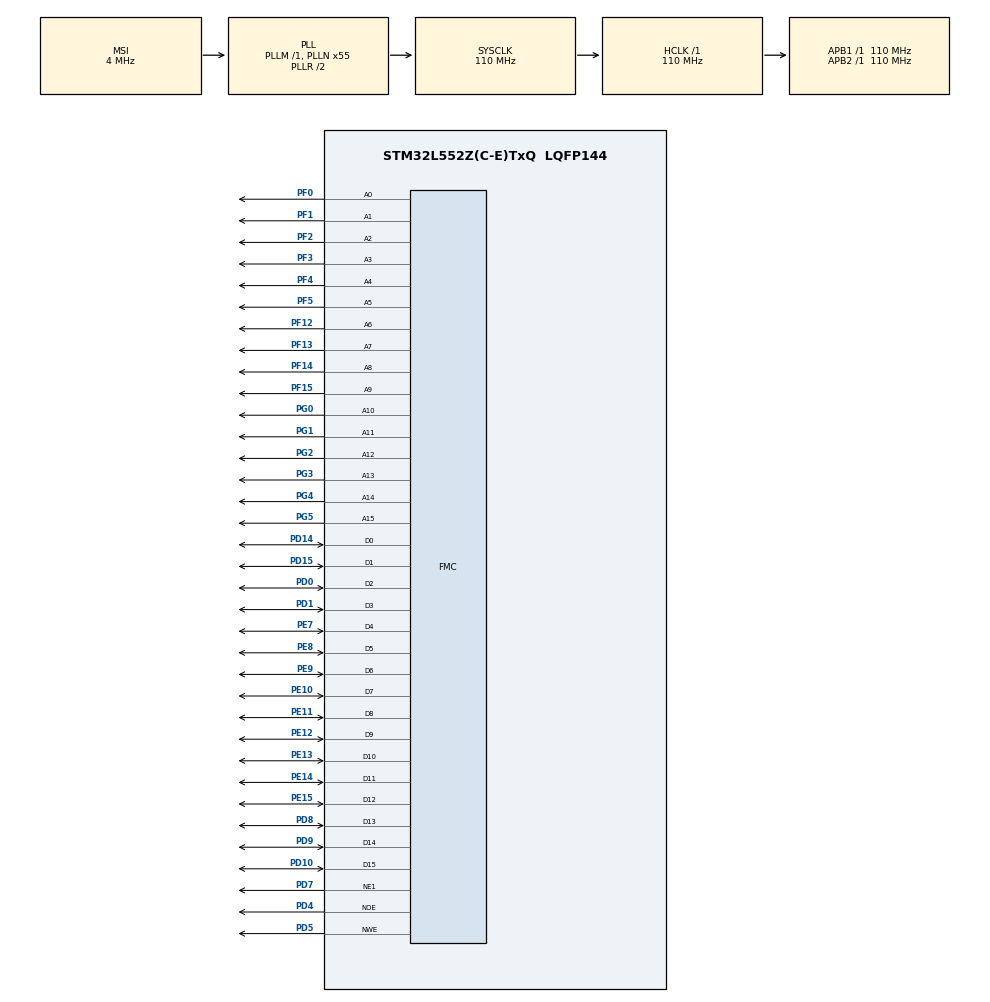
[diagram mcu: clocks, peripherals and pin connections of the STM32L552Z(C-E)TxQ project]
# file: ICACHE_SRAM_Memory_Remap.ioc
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FMC.AddressSetupTime1=2
FMC.BusTurnAroundDuration1=1
FMC.DataSetupTime1=1
FMC.WriteFifo1=FMC_WRITE_FIFO_DISABLE
FMC.WriteFifo2=FMC_WRITE_FIFO_DISABLE
FMC.WriteFifo3=FMC_WRITE_FIFO_DISABLE
FMC.WriteFifo4=FMC_WRITE_FIFO_DISABLE
FMC.WriteOperation1=FMC_WRITE_OPERATION_ENABLE
Mcu.Family=STM32L5
Mcu.Name=STM32L552Z(C-E)TxQ
Mcu.Package=LQFP144
NVIC.PriorityGroup=NVIC_PRIORITYGROUP_3
PD0.GPIO_PuPd=GPIO_PULLUP
PD0.Signal=FMC_D2_DA2
PD1.GPIO_PuPd=GPIO_PULLUP
PD1.Signal=FMC_D3_DA3
PD10.GPIO_PuPd=GPIO_PULLUP
PD10.Signal=FMC_D15_DA15
PD14.GPIO_PuPd=GPIO_PULLUP
PD14.Signal=FMC_D0_DA0
PD15.GPIO_PuPd=GPIO_PULLUP
PD15.Signal=FMC_D1_DA1
PD4.GPIO_PuPd=GPIO_PULLUP
PD4.Signal=FMC_NOE
PD5.GPIO_PuPd=GPIO_PULLUP
PD5.Signal=FMC_NWE
PD7.GPIO_PuPd=GPIO_PULLUP
PD7.Mode=NorPsramChipSelect1_1
PD7.Signal=FMC_NE1
PD8.GPIO_PuPd=GPIO_PULLUP
PD8.Signal=FMC_D13_DA13
PD9.GPIO_PuPd=GPIO_PULLUP
PD9.Signal=FMC_D14_DA14
PE10.GPIO_PuPd=GPIO_PULLUP
PE10.Signal=FMC_D7_DA7
PE11.GPIO_PuPd=GPIO_PULLUP
PE11.Signal=FMC_D8_DA8
PE12.GPIO_PuPd=GPIO_PULLUP
PE12.Signal=FMC_D9_DA9
PE13.GPIO_PuPd=GPIO_PULLUP
PE13.Signal=FMC_D10_DA10
PE14.GPIO_PuPd=GPIO_PULLUP
PE14.Signal=FMC_D11_DA11
PE15.GPIO_PuPd=GPIO_PULLUP
PE15.Signal=FMC_D12_DA12
PE7.GPIO_PuPd=GPIO_PULLUP
PE7.Signal=FMC_D4_DA4
PE8.GPIO_PuPd=GPIO_PULLUP
PE8.Signal=FMC_D5_DA5
PE9.GPIO_PuPd=GPIO_PULLUP
PE9.Signal=FMC_D6_DA6
PF0.GPIO_PuPd=GPIO_PULLUP
PF0.Signal=FMC_A0
PF1.GPIO_PuPd=GPIO_PULLUP
PF1.Signal=FMC_A1
PF12.GPIO_PuPd=GPIO_PULLUP
PF12.Signal=FMC_A6
PF13.GPIO_PuPd=GPIO_PULLUP
PF13.Signal=FMC_A7
PF14.GPIO_PuPd=GPIO_PULLUP
PF14.Signal=FMC_A8
PF15.GPIO_PuPd=GPIO_PULLUP
PF15.Signal=FMC_A9
PF2.GPIO_PuPd=GPIO_PULLUP
PF2.Signal=FMC_A2
PF3.GPIO_PuPd=GPIO_PULLUP
PF3.Signal=FMC_A3
PF4.GPIO_PuPd=GPIO_PULLUP
PF4.Signal=FMC_A4
PF5.GPIO_PuPd=GPIO_PULLUP
PF5.Signal=FMC_A5
PG0.GPIO_PuPd=GPIO_PULLUP
PG0.Signal=FMC_A10
PG1.GPIO_PuPd=GPIO_PULLUP
PG1.Signal=FMC_A11
PG2.GPIO_PuPd=GPIO_PULLUP
PG2.Signal=FMC_A12
PG3.GPIO_PuPd=GPIO_PULLUP
PG3.Signal=FMC_A13
PG4.GPIO_PuPd=GPIO_PULLUP
PG4.Signal=FMC_A14
PG5.GPIO_PuPd=GPIO_PULLUP
PG5.Signal=FMC_A15
ProjectManager.HeapSize=0x200
ProjectManager.StackSize=0x400
ProjectManager.TargetToolchain=EWARM V8.32
RCC.AHBFreq_Value=110000000
RCC.APB1Freq_Value=110000000
RCC.APB1TimFreq_Value=110000000
RCC.APB2Freq_Value=110000000
RCC.APB2TimFreq_Value=110000000
RCC.CortexFreq_Value=110000000
RCC.HCLKFreq_Value=110000000
RCC.HSE_VALUE=16000000
RCC.HSI48_VALUE=48000000
RCC.HSI_VALUE=16000000
RCC.LSE_VALUE=32768
RCC.MSI_VALUE=4000000
RCC.PLLN=55
RCC.SYSCLKFreq_VALUE=110000000
RCC.SYSCLKSource=RCC_SYSCLKSOURCE_PLLCLK
RCC.VCOOutputFreq_Value=220000000
SH.FMC_A0.0=FMC_A0,16b-a1
SH.FMC_A1.0=FMC_A1,16b-a1
SH.FMC_A10.0=FMC_A10,16b-a1
SH.FMC_A11.0=FMC_A11,16b-a1
SH.FMC_A12.0=FMC_A12,16b-a1
SH.FMC_A13.0=FMC_A13,16b-a1
SH.FMC_A14.0=FMC_A14,16b-a1
SH.FMC_A15.0=FMC_A15,16b-a1
SH.FMC_A2.0=FMC_A2,16b-a1
SH.FMC_A3.0=FMC_A3,16b-a1
SH.FMC_A4.0=FMC_A4,16b-a1
SH.FMC_A5.0=FMC_A5,16b-a1
SH.FMC_A6.0=FMC_A6,16b-a1
SH.FMC_A7.0=FMC_A7,16b-a1
SH.FMC_A8.0=FMC_A8,16b-a1
SH.FMC_A9.0=FMC_A9,16b-a1
SH.FMC_D0_DA0.0=FMC_D0,16b-d1
SH.FMC_D10_DA10.0=FMC_D10,16b-d1
SH.FMC_D11_DA11.0=FMC_D11,16b-d1
SH.FMC_D12_DA12.0=FMC_D12,16b-d1
SH.FMC_D13_DA13.0=FMC_D13,16b-d1
SH.FMC_D14_DA14.0=FMC_D14,16b-d1
SH.FMC_D15_DA15.0=FMC_D15,16b-d1
SH.FMC_D1_DA1.0=FMC_D1,16b-d1
SH.FMC_D2_DA2.0=FMC_D2,16b-d1
SH.FMC_D3_DA3.0=FMC_D3,16b-d1
SH.FMC_D4_DA4.0=FMC_D4,16b-d1
SH.FMC_D5_DA5.0=FMC_D5,16b-d1
SH.FMC_D6_DA6.0=FMC_D6,16b-d1
SH.FMC_D7_DA7.0=FMC_D7,16b-d1
SH.FMC_D8_DA8.0=FMC_D8,16b-d1
SH.FMC_D9_DA9.0=FMC_D9,16b-d1
SH.FMC_NOE.0=FMC_NOE,Sram1
SH.FMC_NWE.0=FMC_NWE,Sram1
VP_ICACHE_VS_ICACHE.Mode=DirectMappedCache
VP_PWR_VS_DBSignals.Mode=DisableDeadBatterySignals
board=custom

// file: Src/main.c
/* USER CODE BEGIN Header */
/**
  ******************************************************************************
  * @file           : ICACHE\ICACHE_SRAM_Memory_Remap\Src\main.c
  * @brief          : Main program body
  ******************************************************************************
  * @attention
  *
  * Copyright (c) 2020 STMicroelectronics.
  * All rights reserved.
  *
  * This software is licensed under terms that can be found in the LICENSE file
  * in the root directory of this software component.
  * If no LICENSE file comes with this software, it is provided AS-IS.
  *
  ******************************************************************************
  */
/* USER CODE END Header */
#include "main.h"

/* USER CODE BEGIN Includes */
#include "stm32l552e_eval.h"

/* USER CODE END Includes */

/* USER CODE BEGIN PTD */
/* Function pointer declaration used to call remapped function */
typedef void (*funcptr)(void);

/* USER CODE END PTD */

SRAM_HandleTypeDef hsram1;

/* USER CODE BEGIN PV */
static uint8_t *flash_addr;
static uint32_t extsram_size;
static ICACHE_RegionConfigTypeDef region_config;
static funcptr IO_Toggle_extSRAM_Remapped;

#if defined(__ICCARM__)
#pragma section =".extsram_region"
#pragma section =".extsram_region_init"
#elif defined(__ARMCC_VERSION)
extern uint32_t Load$$EXTSRAM_REGION$$Base;
extern uint32_t Load$$EXTSRAM_REGION$$Length;
#elif defined(__GNUC__)
extern uint32_t _extsram_region_init_base;
extern uint32_t _extsram_region_init_length;
#endif

/* USER CODE END PV */

void SystemClock_Config(void);
static void MX_GPIO_Init(void);
static void MX_ICACHE_Init(void);
static void MX_FMC_Init(void);
/* USER CODE BEGIN PFP */
static void IO_Toggle_extSRAM(void);

/* USER CODE END PFP */

int main(void)
{

  /* MCU Configuration--------------------------------------------------------*/

  /* Reset of all peripherals, Initializes the Flash interface and the Systick. */
  HAL_Init();

  /* Configure the system clock */
  SystemClock_Config();

  /* Initialize all configured peripherals */
  MX_GPIO_Init();
  MX_ICACHE_Init();
  MX_FMC_Init();
  /* USER CODE BEGIN 2 */
  BSP_LED_Init(LED_RED);
  BSP_LED_Init(LED_GREEN);

  /* Memory copy from FLASH to external SRAM */
#if defined(__ICCARM__)
  extsram_size = __section_size(".extsram_region_init");
  flash_addr = (uint8_t *)(__section_begin(".extsram_region_init"));
#elif defined(__ARMCC_VERSION)
  extsram_size = (uint32_t)(&Load$$EXTSRAM_REGION$$Length);
  flash_addr = (uint8_t *)(&Load$$EXTSRAM_REGION$$Base);
#elif defined(__GNUC__)
  extsram_size = (uint32_t)((uint8_t *)(&_extsram_region_init_length));
  flash_addr = (uint8_t *)(&_extsram_region_init_base);
#endif

  if(HAL_SRAM_Write_16b(&hsram1, (uint32_t *)0x60000000, (uint16_t *)flash_addr, extsram_size) != HAL_OK)
  {
    Error_Handler();
  }

  /* Execute function from external RAM before remap */
  IO_Toggle_extSRAM(); /* Toggle the Green led => should be ON */

  /* Disable Instruction cache prior to enable the remapped region */
  HAL_ICACHE_Disable();

  /* Remap SRAM memory to C-Bus */
  region_config.BaseAddress     = 0x10000000;
  region_config.RemapAddress    = 0x60000000;
  region_config.TrafficRoute    = ICACHE_MASTER2_PORT;
  region_config.OutputBurstType = ICACHE_OUTPUT_BURST_INCR;
  region_config.Size            = ICACHE_REGIONSIZE_2MB;

  /* Enable the remapped region */
  if(HAL_ICACHE_EnableRemapRegion(ICACHE_REGION_0, &region_config) != HAL_OK)
  {
    Error_Handler();
  }

  /* Set remap Toggle function pointer */
  IO_Toggle_extSRAM_Remapped = (funcptr)(IO_Toggle_extSRAM);

  /* Enable the Instruction cache and wait for cache invalidation end for deterministic cache behavior */
  HAL_ICACHE_Enable();
  HAL_ICACHE_WaitForInvalidateComplete();

  /* Execute function from remapped code region */
  IO_Toggle_extSRAM_Remapped(); /* Toggle the Green led => should be OFF */

  /* USER CODE END 2 */

  /* Infinite loop */
  while (1)
  {

  }
}

void SystemClock_Config(void)
{
  RCC_OscInitTypeDef RCC_OscInitStruct = {0};
  RCC_ClkInitTypeDef RCC_ClkInitStruct = {0};

  /** Configure the main internal regulator output voltage
  */
  if (HAL_PWREx_ControlVoltageScaling(PWR_REGULATOR_VOLTAGE_SCALE0) != HAL_OK)
  {
    Error_Handler();
  }

  /** Initializes the RCC Oscillators according to the specified parameters
  * in the RCC_OscInitTypeDef structure.
  */
  RCC_OscInitStruct.OscillatorType = RCC_OSCILLATORTYPE_MSI;
  RCC_OscInitStruct.MSIState = RCC_MSI_ON;
  RCC_OscInitStruct.MSICalibrationValue = RCC_MSICALIBRATION_DEFAULT;
  RCC_OscInitStruct.MSIClockRange = RCC_MSIRANGE_6;
  RCC_OscInitStruct.PLL.PLLState = RCC_PLL_ON;
  RCC_OscInitStruct.PLL.PLLSource = RCC_PLLSOURCE_MSI;
  RCC_OscInitStruct.PLL.PLLM = 1;
  RCC_OscInitStruct.PLL.PLLN = 55;
  RCC_OscInitStruct.PLL.PLLP = RCC_PLLP_DIV7;
  RCC_OscInitStruct.PLL.PLLQ = RCC_PLLQ_DIV2;
  RCC_OscInitStruct.PLL.PLLR = RCC_PLLR_DIV2;
  if (HAL_RCC_OscConfig(&RCC_OscInitStruct) != HAL_OK)
  {
    Error_Handler();
  }

  /** Initializes the CPU, AHB and APB buses clocks
  */
  RCC_ClkInitStruct.ClockType = RCC_CLOCKTYPE_HCLK|RCC_CLOCKTYPE_SYSCLK
                              |RCC_CLOCKTYPE_PCLK1|RCC_CLOCKTYPE_PCLK2;
  RCC_ClkInitStruct.SYSCLKSource = RCC_SYSCLKSOURCE_PLLCLK;
  RCC_ClkInitStruct.AHBCLKDivider = RCC_SYSCLK_DIV1;
  RCC_ClkInitStruct.APB1CLKDivider = RCC_HCLK_DIV1;
  RCC_ClkInitStruct.APB2CLKDivider = RCC_HCLK_DIV1;

  if (HAL_RCC_ClockConfig(&RCC_ClkInitStruct, FLASH_LATENCY_5) != HAL_OK)
  {
    Error_Handler();
  }
}

static void MX_ICACHE_Init(void)
{

  /** Enable instruction cache in 1-way (direct mapped cache)
  */
  if (HAL_ICACHE_ConfigAssociativityMode(ICACHE_1WAY) != HAL_OK)
  {
    Error_Handler();
  }
  if (HAL_ICACHE_Enable() != HAL_OK)
  {
    Error_Handler();
  }

}

/* FMC initialization function */
static void MX_FMC_Init(void)
{

  FMC_NORSRAM_TimingTypeDef Timing = {0};

  /** Perform the SRAM1 memory initialization sequence
  */
  hsram1.Instance = FMC_NORSRAM_DEVICE;
  hsram1.Extended = FMC_NORSRAM_EXTENDED_DEVICE;
  /* hsram1.Init */
  hsram1.Init.NSBank = FMC_NORSRAM_BANK1;
  hsram1.Init.DataAddressMux = FMC_DATA_ADDRESS_MUX_DISABLE;
  hsram1.Init.MemoryType = FMC_MEMORY_TYPE_SRAM;
  hsram1.Init.MemoryDataWidth = FMC_NORSRAM_MEM_BUS_WIDTH_16;
  hsram1.Init.BurstAccessMode = FMC_BURST_ACCESS_MODE_DISABLE;
  hsram1.Init.WaitSignalPolarity = FMC_WAIT_SIGNAL_POLARITY_LOW;
  hsram1.Init.WaitSignalActive = FMC_WAIT_TIMING_BEFORE_WS;
  hsram1.Init.WriteOperation = FMC_WRITE_OPERATION_ENABLE;
  hsram1.Init.WaitSignal = FMC_WAIT_SIGNAL_DISABLE;
  hsram1.Init.ExtendedMode = FMC_EXTENDED_MODE_DISABLE;
  hsram1.Init.AsynchronousWait = FMC_ASYNCHRONOUS_WAIT_DISABLE;
  hsram1.Init.WriteBurst = FMC_WRITE_BURST_DISABLE;
  hsram1.Init.ContinuousClock = FMC_CONTINUOUS_CLOCK_SYNC_ONLY;
  hsram1.Init.WriteFifo = FMC_WRITE_FIFO_DISABLE;
  hsram1.Init.NBLSetupTime = 0;
  hsram1.Init.PageSize = FMC_PAGE_SIZE_NONE;
  hsram1.Init.MaxChipSelectPulse = DISABLE;
  /* Timing */
  Timing.AddressSetupTime = 2;
  Timing.AddressHoldTime = 15;
  Timing.DataSetupTime = 1;
  Timing.DataHoldTime = 0;
  Timing.BusTurnAroundDuration = 1;
  Timing.CLKDivision = 16;
  Timing.DataLatency = 17;
  Timing.AccessMode = FMC_ACCESS_MODE_A;
  /* ExtTiming */

  if (HAL_SRAM_Init(&hsram1, &Timing, NULL) != HAL_OK)
  {
    Error_Handler( );
  }

}

static void MX_GPIO_Init(void)
{

  /* GPIO Ports Clock Enable */
  __HAL_RCC_GPIOF_CLK_ENABLE();
  __HAL_RCC_GPIOG_CLK_ENABLE();
  __HAL_RCC_GPIOE_CLK_ENABLE();
  __HAL_RCC_GPIOD_CLK_ENABLE();
  HAL_PWREx_EnableVddIO2();

}

/* USER CODE BEGIN 4 */
/**
  * @brief  Toggle led function in external SRAM executed before and after remap
  * @retval None
  */
#if defined(__ICCARM__)
static void IO_Toggle_extSRAM(void) @ ".extsram_region"
#elif defined(__ARMCC_VERSION) || defined(__GNUC__)
static void __attribute__((section(".extsram_region"), noinline)) IO_Toggle_extSRAM(void)
#endif
{
  /* 5-time toggling */
  for (uint32_t loop = 0; loop < 5; loop++)
  {
    BSP_LED_Toggle(LED_GREEN);
    HAL_Delay(200);
  }
}

/* USER CODE END 4 */

void Error_Handler(void)
{
  /* USER CODE BEGIN Error_Handler_Debug */
  /* User can add his own implementation to report the HAL error return state */
  BSP_LED_Init(LED_RED);

  __disable_irq();
  while (1)
  {
  }
  /* USER CODE END Error_Handler_Debug */
}
